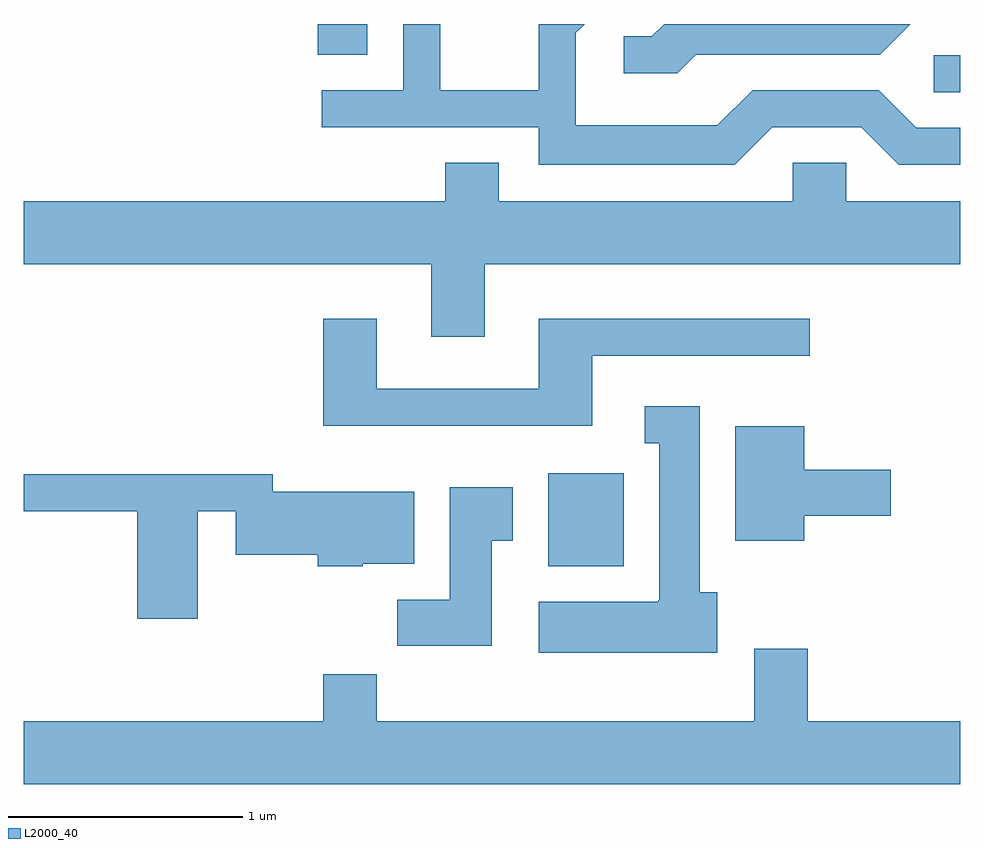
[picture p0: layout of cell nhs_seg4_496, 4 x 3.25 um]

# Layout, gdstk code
import gdstk
lib = gdstk.Library(unit=1e-6, precision=1e-09)
def R(c, l, rs):  # rectangles x0, y0, x1, y1
    for r in rs: c.add(gdstk.rectangle(r[:2], r[2:], *l))
def P(c, l, *ps):  # polygons
    for p in ps: c.add(gdstk.Polygon(p, *l))
L2000_40 = (2000, 40)

nhs_seg4_496 = lib.new_cell('nhs_seg4_496')
R(nhs_seg4_496, L2000_40, [(201.851,1295.666,202.174,1296.064), (203.498,1297.691,203.611,1297.849), (200.866,1297.851,201.079,1297.982)])
P(nhs_seg4_496, L2000_40, [(202.482,1297.851),(203.267,1297.851),(203.397,1297.982),(202.346,1297.982),(202.294,1297.929),(202.173,1297.929),(202.173,1297.771),(202.402,1297.771)],
  [(202.807,1297.541),(203.189,1297.541),(203.349,1297.381),(203.611,1297.381),(203.611,1297.539),(203.422,1297.539),(203.262,1297.699),(202.724,1297.699),(202.574,1297.549),(201.969,1297.549),(201.969,1297.944),(202.007,1297.982),(201.811,1297.982),(201.811,1297.699),(201.389,1297.699),(201.389,1297.982),(201.231,1297.982),(201.231,1297.699),(200.883,1297.699),(200.883,1297.541),(201.811,1297.541),(201.811,1297.381),(202.647,1297.381)],
  [(201.579,1296.956),(203.611,1296.956),(203.611,1297.224),(203.124,1297.224),(203.124,1297.389),(202.896,1297.389),(202.896,1297.224),(201.639,1297.224),(201.639,1297.389),(201.411,1297.389),(201.411,1297.224),(199.611,1297.224),(199.611,1296.956),(201.351,1296.956),(201.351,1296.646),(201.579,1296.646)],
  [(202.039,1296.566),(202.968,1296.566),(202.968,1296.724),(201.811,1296.724),(201.811,1296.424),(201.119,1296.424),(201.119,1296.724),(200.891,1296.724),(200.891,1296.266),(202.039,1296.266)],
  [(202.574,1295.554),(202.499,1295.554),(202.499,1296.349),(202.263,1296.349),(202.263,1296.191),(202.326,1296.191),(202.326,1295.52),(202.32,1295.52),(202.32,1295.514),(201.811,1295.514),(201.811,1295.296),(202.574,1295.296)],
  [(202.944,1295.881),(203.314,1295.881),(203.314,1296.079),(202.944,1296.079),(202.944,1296.264),(202.651,1296.264),(202.651,1295.776),(202.944,1295.776)],
  [(200.354,1295.901),(200.516,1295.901),(200.516,1295.716),(200.866,1295.716),(200.866,1295.666),(201.06,1295.666),(201.06,1295.676),(201.279,1295.676),(201.279,1295.984),(200.674,1295.984),(200.674,1296.059),(199.611,1296.059),(199.611,1295.901),(200.096,1295.901),(200.096,1295.441),(200.354,1295.441)],
  [(201.609,1295.776),(201.699,1295.776),(201.699,1296.004),(201.431,1296.004),(201.431,1295.524),(201.206,1295.524),(201.206,1295.326),(201.609,1295.326)],
  [(203.611,1295.004),(202.959,1295.004),(202.959,1295.314),(202.731,1295.314),(202.731,1295.004),(201.119,1295.004),(201.119,1295.204),(200.891,1295.204),(200.891,1295.004),(199.611,1295.004),(199.611,1294.736),(203.611,1294.736)])

lib.write_gds('nhs_seg4_496.gds')
